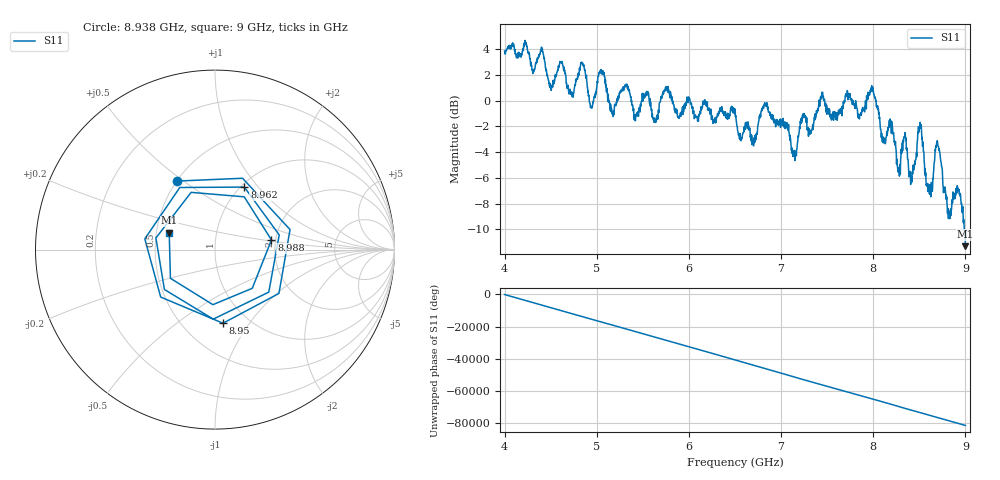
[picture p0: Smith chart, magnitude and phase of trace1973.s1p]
! Created with skrf 1.8.0 (http://scikit-rf.org).
# Hz S RI R 50.0
!freq ReS11 ImS11
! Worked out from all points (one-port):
!   1601 points, 4 GHz to 9 GHz, reference 50 ohm
!   lowest |S11| = -11.3 dB at 9 GHz (marker M1), VSWR 1.75, Z = 29.2 + j5.92 ohm
!   |S11| at or under -10 dB: 8.988422 GHz to end of sweep
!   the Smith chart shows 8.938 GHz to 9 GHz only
!   S11 on the Smith chart (normalised r, x): 8.938 GHz: 0.50, +0.47; 8.95 GHz: 0.77, -0.76; 8.962 GHz: 1.04, +0.85; 8.988 GHz: 1.90, +0.23; 9 GHz: 0.58, +0.12
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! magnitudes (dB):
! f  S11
! 4 GHz  3.9
! 4.625 GHz  3.0
! 4.725 GHz  0.5
! 4.847 GHz  2.9
! 4.944 GHz  -0.6
! 5.047 GHz  2.4
! 5.162 GHz  -0.7
! 5.25 GHz  0.6
! 5.875 GHz  -1.1
! 6.5 GHz  -0.9
! 6.7 GHz  -3.5
! 6.838 GHz  -0.4
! 7.125 GHz  -3.9
! 7.434 GHz  0.1
! 7.75 GHz  0.4
! 7.994 GHz  1.0
! 8.109 GHz  -3.3
! 8.375 GHz  -4.6
! 8.428 GHz  -5.7
! 8.506 GHz  -2.2
! 8.6 GHz  -6.8
! 8.697 GHz  -3.2
! 8.825 GHz  -8.7
! 8.938 GHz  -7.2
! 8.95 GHz  -7.7
! 8.962 GHz  -8.3
! 8.988 GHz  -9.9
! 9 GHz  -11.3
